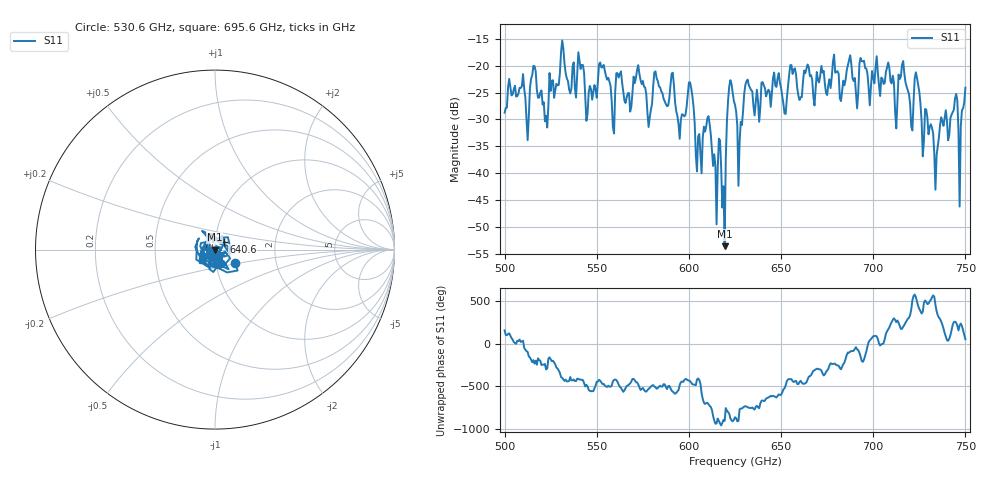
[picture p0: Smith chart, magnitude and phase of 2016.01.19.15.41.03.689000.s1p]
!Created with skrf (http://scikit-rf.org).
# GHz S RI R 50.0
!freq ReS11 ImS11
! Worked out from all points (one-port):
!   401 points, 500 GHz to 750 GHz, reference 50 ohm
!   lowest |S11| = -53.6 dB at 619.4 GHz (marker M1), VSWR 1.00, Z = 49.8 + j0.037 ohm
!   |S11| at or under -10 dB: start of sweep to end of sweep
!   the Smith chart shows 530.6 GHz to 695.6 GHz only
!   S11 on the Smith chart (normalised r, x): 530.6 GHz: 1.24, -0.18; 640.6 GHz: 1.10, +0.10; 695.6 GHz: 0.86, -0.10
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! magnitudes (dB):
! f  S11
! 500 GHz  -28.7
! 512.5 GHz  -33.8
! 515.6 GHz  -20.0
! 522.5 GHz  -29.3
! 530.6 GHz  -17.5
! 531.2 GHz  -15.3
! 545 GHz  -29.0
! 562.5 GHz  -21.5
! 590.6 GHz  -21.5
! 593.8 GHz  -29.3
! 600.6 GHz  -23.1
! 605.6 GHz  -32.7
! 610.6 GHz  -29.4
! 619.4 GHz  -53.6
! 621.9 GHz  -23.8
! 625 GHz  -27.3
! 627.5 GHz  -34.2
! 631.2 GHz  -22.9
! 640.6 GHz  -23.7
! 651.9 GHz  -28.9
! 656.2 GHz  -21.5
! 687.5 GHz  -18.1
! 695.6 GHz  -20.4
! 718.8 GHz  -24.6
! 734.4 GHz  -36.7
! 744.4 GHz  -26.1
! 747.5 GHz  -31.3
! 750 GHz  -24.1
